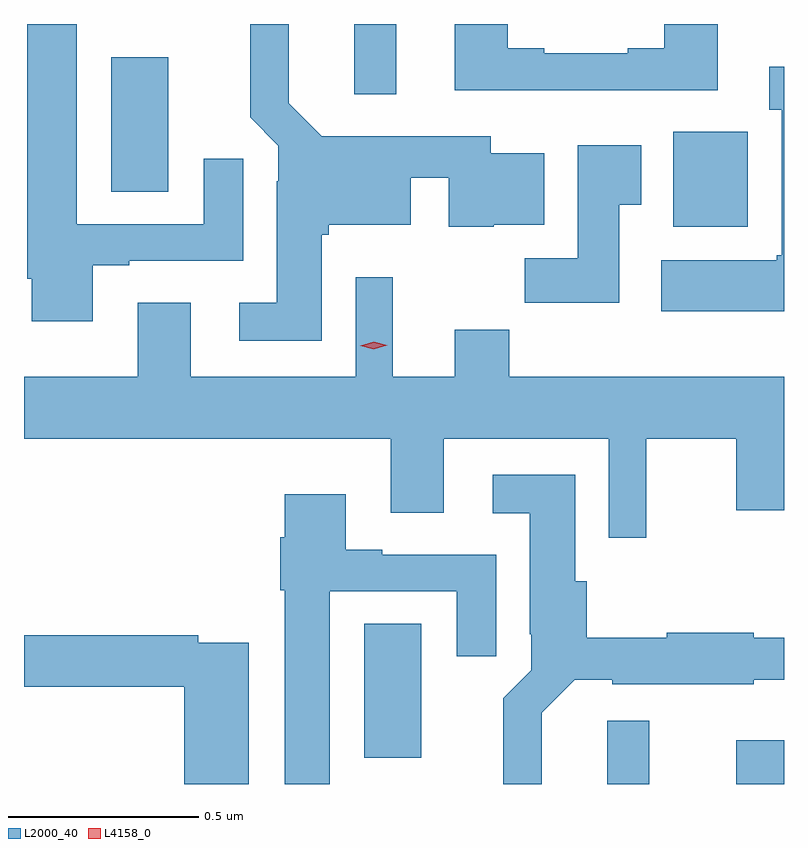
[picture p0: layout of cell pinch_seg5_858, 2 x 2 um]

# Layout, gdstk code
import gdstk
lib = gdstk.Library(unit=1e-6, precision=1e-09)
def R(c, l, rs):  # rectangles x0, y0, x1, y1
    for r in rs: c.add(gdstk.rectangle(r[:2], r[2:], *l))
def P(c, l, *ps):  # polygons
    for p in ps: c.add(gdstk.Polygon(p, *l))
L2000_40 = (2000, 40)
L4158_0 = (4158, 0)

pinch_seg5_858 = lib.new_cell('pinch_seg5_858')
R(pinch_seg5_858, L2000_40, [(788.045,882.492,788.155,882.658), (788.384,882.492,788.51,882.607), (787.406,882.561,787.555,882.914), (788.219,883.958,788.415,884.209), (786.74,884.05,786.889,884.404), (787.379,884.307,787.489,884.492)])
P(pinch_seg5_858, L2000_40, [(786.691,883.857),(786.787,883.857),(786.787,883.869),(787.087,883.869),(787.087,884.137),(786.983,884.137),(786.983,883.965),(786.649,883.965),(786.649,884.492),(786.518,884.492),(786.518,883.822),(786.53,883.822),(786.53,883.71),(786.691,883.71)],
  [(788.335,884.492),(788.195,884.492),(788.195,884.428),(788.099,884.428),(788.099,884.415),(787.879,884.415),(787.879,884.428),(787.783,884.428),(787.783,884.492),(787.643,884.492),(787.643,884.318),(788.335,884.318)],
  [(787.294,883.938),(787.312,883.938),(787.312,883.964),(787.528,883.964),(787.528,884.088),(787.628,884.088),(787.628,883.958),(787.746,883.958),(787.746,883.964),(787.879,883.964),(787.879,884.152),(787.738,884.152),(787.738,884.196),(787.396,884.196),(787.396,884.197),(787.293,884.197),(787.207,884.284),(787.207,884.492),(787.105,884.492),(787.105,884.246),(787.179,884.172),(787.179,884.078),(787.175,884.078),(787.175,883.759),(787.077,883.759),(787.077,883.658),(787.294,883.658)],
  [(788.51,884.38),(788.471,884.38),(788.471,884.267),(788.504,884.267),(788.504,883.884),(788.491,883.884),(788.491,883.87),(788.187,883.87),(788.187,883.736),(788.51,883.736)],
  [(788.077,884.017),(788.134,884.017),(788.134,884.173),(787.967,884.173),(787.967,883.876),(787.828,883.876),(787.828,883.758),(788.077,883.758)],
  [(788.148,883.4),(788.384,883.4),(788.384,883.212),(788.51,883.212),(788.51,883.564),(787.787,883.564),(787.787,883.688),(787.643,883.688),(787.643,883.564),(787.48,883.564),(787.48,883.825),(787.383,883.825),(787.383,883.564),(786.949,883.564),(786.949,883.759),(786.809,883.759),(786.809,883.564),(786.51,883.564),(786.51,883.4),(787.475,883.4),(787.475,883.206),(787.615,883.206),(787.615,883.4),(788.049,883.4),(788.049,883.14),(788.148,883.14)],
  [(787.873,882.68),(787.959,882.767),(788.058,882.767),(788.058,882.755),(788.43,882.755),(788.43,882.767),(788.51,882.767),(788.51,882.877),(788.43,882.877),(788.43,882.89),(788.202,882.89),(788.202,882.877),(787.991,882.877),(787.991,883.026),(787.96,883.026),(787.96,883.306),(787.743,883.306),(787.743,883.205),(787.841,883.205),(787.841,882.886),(787.845,882.886),(787.845,882.792),(787.771,882.718),(787.771,882.492),(787.873,882.492)],
  [(787.315,882.999),(787.649,882.999),(787.649,882.828),(787.753,882.828),(787.753,883.095),(787.453,883.095),(787.453,883.108),(787.357,883.108),(787.357,883.255),(787.196,883.255),(787.196,883.142),(787.184,883.142),(787.184,883.002),(787.196,883.002),(787.196,882.492),(787.315,882.492)],
  [(787.102,882.864),(786.968,882.864),(786.968,882.884),(786.51,882.884),(786.51,882.748),(786.932,882.748),(786.932,882.492),(787.102,882.492)])
P(pinch_seg5_858, L4158_0, [(787.43,883.636),(787.395,883.645),(787.394,883.645),(787.395,883.645),(787.43,883.656),(787.466,883.646),(787.466,883.646),(787.466,883.646)])

lib.write_gds('pinch_seg5_858.gds')
